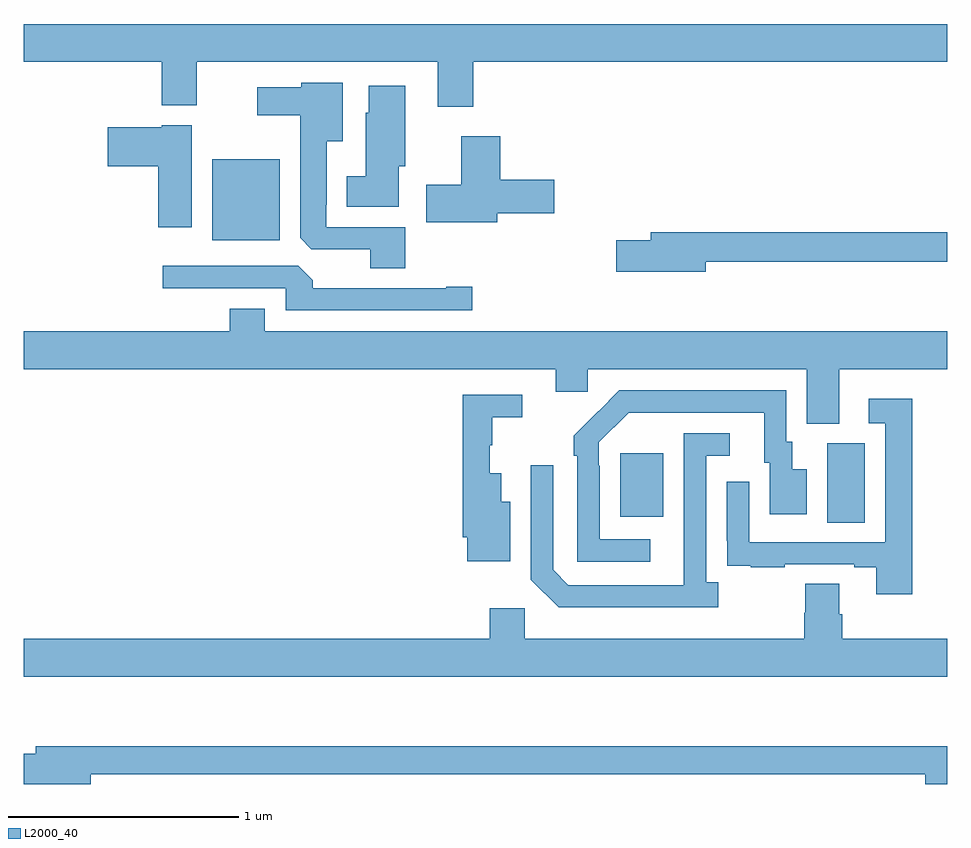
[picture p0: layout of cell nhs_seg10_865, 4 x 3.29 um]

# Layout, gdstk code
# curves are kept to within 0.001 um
import gdstk
lib = gdstk.Library(unit=1e-6, precision=1e-09)
def R(c, l, rs):  # rectangles x0, y0, x1, y1
    for r in rs: c.add(gdstk.rectangle(r[:2], r[2:], *l))
def P(c, l, *ps):  # polygons
    for p in ps: c.add(gdstk.Polygon(p, *l))
L2000_40 = (2000, 40)

nhs_seg10_865 = lib.new_cell('nhs_seg10_865')
R(nhs_seg10_865, L2000_40, [(158.48,1263.688,158.644,1264.032), (157.583,1263.713,157.771,1263.988), (155.816,1264.91,156.109,1265.263)])
P(nhs_seg10_865, L2000_40, [(156.947,1265.684),(159,1265.684),(159,1265.848),(155,1265.848),(155,1265.684),(155.597,1265.684),(155.597,1265.495),(155.749,1265.495),(155.749,1265.684),(156.794,1265.684),(156.794,1265.49),(156.947,1265.49)],
  [(156.653,1264.968),(156.309,1264.968),(156.309,1265.065),(156.313,1265.065),(156.313,1265.339),(156.382,1265.339),(156.382,1265.593),(156.201,1265.593),(156.201,1265.575),(156.012,1265.575),(156.012,1265.453),(156.197,1265.453),(156.197,1264.921),(156.246,1264.872),(156.5,1264.872),(156.5,1264.789),(156.653,1264.789)],
  [(156.625,1265.232),(156.652,1265.232),(156.652,1265.581),(156.494,1265.581),(156.494,1265.463),(156.482,1265.463),(156.482,1265.188),(156.398,1265.188),(156.398,1265.057),(156.625,1265.057)],
  [(155.728,1265.41),(155.598,1265.41),(155.598,1265.401),(155.364,1265.401),(155.364,1265.231),(155.582,1265.231),(155.582,1264.968),(155.728,1264.968)],
  [(157.051,1265.027),(157.297,1265.027),(157.297,1265.174),(157.064,1265.174),(157.064,1265.362),(156.896,1265.362),(156.896,1265.151),(156.744,1265.151),(156.744,1264.988),(157.051,1264.988)],
  [(157.954,1264.818),(159,1264.818),(159,1264.946),(157.715,1264.946),(157.715,1264.91),(157.566,1264.91),(157.566,1264.775),(157.954,1264.775)],
  [(156.943,1264.709),(156.83,1264.709),(156.83,1264.704),(156.251,1264.704),(156.251,1264.738),(156.189,1264.8),(155.601,1264.8),(155.601,1264.704),(156.135,1264.704),(156.135,1264.608),(156.943,1264.608)],
  [(158.533,1264.352),(159,1264.352),(159,1264.516),(156.043,1264.516),(156.043,1264.615),(155.891,1264.615),(155.891,1264.516),(155,1264.516),(155,1264.352),(157.304,1264.352),(157.304,1264.254),(157.443,1264.254),(157.443,1264.352),(158.393,1264.352),(158.393,1264.117),(158.533,1264.117)],
  [(157.714,1263.615),(157.494,1263.615),(157.494,1263.935),(157.491,1263.935),(157.491,1264.035),(157.62,1264.164),(158.207,1264.164),(158.207,1263.948),(158.231,1263.948),(158.231,1263.723),(158.392,1263.723),(158.392,1263.919),(158.329,1263.919),(158.329,1264.038),(158.304,1264.038),(158.304,1264.26),(157.58,1264.26),(157.383,1264.065),(157.383,1263.977),(157.398,1263.977),(157.398,1263.519),(157.714,1263.519)],
  [(157.108,1263.778),(157.069,1263.778),(157.069,1263.901),(157.019,1263.901),(157.019,1264.023),(157.03,1264.023),(157.03,1264.144),(157.159,1264.144),(157.159,1264.242),(156.901,1264.242),(156.901,1263.625),(156.92,1263.625),(156.92,1263.521),(157.108,1263.521)],
  [(158.849,1264.225),(158.661,1264.225),(158.661,1264.119),(158.733,1264.119),(158.733,1263.603),(158.142,1263.603),(158.142,1263.865),(158.046,1263.865),(158.046,1263.61),(158.047,1263.61),(158.047,1263.501),(158.149,1263.501),(158.149,1263.495),(158.297,1263.495),(158.297,1263.507),(158.597,1263.507),(158.597,1263.495),(158.693,1263.495),(158.693,1263.378),(158.849,1263.378)],
  [(158.008,1263.43),(157.956,1263.43),(157.956,1263.978),(158.059,1263.978),(158.059,1264.074),(157.86,1264.074),(157.859,1263.417),(157.359,1263.417),(157.293,1263.483),(157.293,1263.937),(157.197,1263.937),(157.197,1263.441),(157.318,1263.32),(158.008,1263.32)],
  [(159,1263.184),(158.546,1263.184),(158.546,1263.29),(158.533,1263.29),(158.533,1263.422),(158.386,1263.422),(158.386,1263.297),(158.381,1263.297),(158.381,1263.184),(157.17,1263.184),(157.17,1263.316),(157.019,1263.316),(157.019,1263.184),(155,1263.184),(155,1263.02),(159,1263.02)],
  [(155.29,1262.598),(158.906,1262.598),(158.906,1262.555),(159,1262.555),(159,1262.719),(155.051,1262.719),(155.051,1262.685),(155,1262.685),(155,1262.555),(155.29,1262.555)])

lib.write_gds('nhs_seg10_865.gds')
